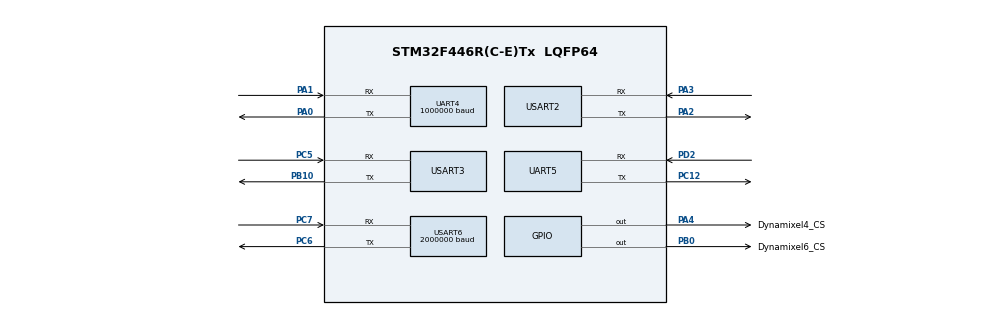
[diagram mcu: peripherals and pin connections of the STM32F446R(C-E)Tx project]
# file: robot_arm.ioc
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Dma.Request0=USART6_TX
Dma.Request1=UART4_RX
Dma.Request2=UART4_TX
Dma.Request3=USART6_RX
Dma.Request4=USART2_RX
Dma.Request5=USART2_TX
Dma.UART4_RX.1.Direction=DMA_PERIPH_TO_MEMORY
Dma.UART4_RX.1.FIFOMode=DMA_FIFOMODE_DISABLE
Dma.UART4_RX.1.Instance=DMA1_Stream2
Dma.UART4_RX.1.MemDataAlignment=DMA_MDATAALIGN_BYTE
Dma.UART4_RX.1.MemInc=DMA_MINC_ENABLE
Dma.UART4_RX.1.Mode=DMA_NORMAL
Dma.UART4_RX.1.PeriphDataAlignment=DMA_PDATAALIGN_BYTE
Dma.UART4_RX.1.PeriphInc=DMA_PINC_DISABLE
Dma.UART4_RX.1.Priority=DMA_PRIORITY_LOW
Dma.UART4_TX.2.Direction=DMA_MEMORY_TO_PERIPH
Dma.UART4_TX.2.FIFOMode=DMA_FIFOMODE_DISABLE
Dma.UART4_TX.2.Instance=DMA1_Stream4
Dma.UART4_TX.2.MemDataAlignment=DMA_MDATAALIGN_BYTE
Dma.UART4_TX.2.MemInc=DMA_MINC_ENABLE
Dma.UART4_TX.2.Mode=DMA_NORMAL
Dma.UART4_TX.2.PeriphDataAlignment=DMA_PDATAALIGN_BYTE
Dma.UART4_TX.2.PeriphInc=DMA_PINC_DISABLE
Dma.UART4_TX.2.Priority=DMA_PRIORITY_LOW
Dma.USART2_RX.4.Direction=DMA_PERIPH_TO_MEMORY
Dma.USART2_RX.4.FIFOMode=DMA_FIFOMODE_DISABLE
Dma.USART2_RX.4.Instance=DMA1_Stream5
Dma.USART2_RX.4.MemDataAlignment=DMA_MDATAALIGN_BYTE
Dma.USART2_RX.4.MemInc=DMA_MINC_ENABLE
Dma.USART2_RX.4.Mode=DMA_NORMAL
Dma.USART2_RX.4.PeriphDataAlignment=DMA_PDATAALIGN_BYTE
Dma.USART2_RX.4.PeriphInc=DMA_PINC_DISABLE
Dma.USART2_RX.4.Priority=DMA_PRIORITY_LOW
Dma.USART2_TX.5.Direction=DMA_MEMORY_TO_PERIPH
Dma.USART2_TX.5.FIFOMode=DMA_FIFOMODE_DISABLE
Dma.USART2_TX.5.Instance=DMA1_Stream6
Dma.USART2_TX.5.MemDataAlignment=DMA_MDATAALIGN_BYTE
Dma.USART2_TX.5.MemInc=DMA_MINC_ENABLE
Dma.USART2_TX.5.Mode=DMA_NORMAL
Dma.USART2_TX.5.PeriphDataAlignment=DMA_PDATAALIGN_BYTE
Dma.USART2_TX.5.PeriphInc=DMA_PINC_DISABLE
Dma.USART2_TX.5.Priority=DMA_PRIORITY_LOW
Dma.USART6_RX.3.Direction=DMA_PERIPH_TO_MEMORY
Dma.USART6_RX.3.FIFOMode=DMA_FIFOMODE_DISABLE
Dma.USART6_RX.3.Instance=DMA2_Stream1
Dma.USART6_RX.3.MemDataAlignment=DMA_MDATAALIGN_BYTE
Dma.USART6_RX.3.MemInc=DMA_MINC_ENABLE
Dma.USART6_RX.3.Mode=DMA_NORMAL
Dma.USART6_RX.3.PeriphDataAlignment=DMA_PDATAALIGN_BYTE
Dma.USART6_RX.3.PeriphInc=DMA_PINC_DISABLE
Dma.USART6_RX.3.Priority=DMA_PRIORITY_LOW
Dma.USART6_TX.0.Direction=DMA_MEMORY_TO_PERIPH
Dma.USART6_TX.0.FIFOMode=DMA_FIFOMODE_DISABLE
Dma.USART6_TX.0.Instance=DMA2_Stream6
Dma.USART6_TX.0.MemDataAlignment=DMA_MDATAALIGN_BYTE
Dma.USART6_TX.0.MemInc=DMA_MINC_ENABLE
Dma.USART6_TX.0.Mode=DMA_NORMAL
Dma.USART6_TX.0.PeriphDataAlignment=DMA_PDATAALIGN_BYTE
Dma.USART6_TX.0.PeriphInc=DMA_PINC_DISABLE
Dma.USART6_TX.0.Priority=DMA_PRIORITY_LOW
Mcu.Family=STM32F4
Mcu.Name=STM32F446R(C-E)Tx
Mcu.Package=LQFP64
NVIC.DMA1_Stream2_IRQn=true\:0\:0\:false\:false\:true\:false\:true\:true
NVIC.DMA1_Stream4_IRQn=true\:0\:0\:false\:false\:true\:false\:true\:true
NVIC.DMA1_Stream5_IRQn=true\:0\:0\:false\:false\:true\:false\:true\:true
NVIC.DMA1_Stream6_IRQn=true\:0\:0\:false\:false\:true\:false\:true\:true
NVIC.DMA2_Stream1_IRQn=true\:0\:0\:false\:false\:true\:false\:true\:true
NVIC.DMA2_Stream6_IRQn=true\:0\:0\:false\:false\:true\:false\:true\:true
NVIC.PriorityGroup=NVIC_PRIORITYGROUP_0
NVIC.TIM1_UP_TIM10_IRQn=true\:0\:0\:false\:false\:true\:true\:true\:true
NVIC.UART4_IRQn=true\:0\:0\:false\:false\:true\:true\:true\:true
NVIC.UART5_IRQn=true\:0\:0\:false\:false\:true\:true\:true\:true
NVIC.USART3_IRQn=true\:0\:0\:false\:false\:true\:true\:true\:true
NVIC.USART6_IRQn=true\:0\:0\:false\:false\:true\:true\:true\:true
PA0-WKUP.Mode=Asynchronous
PA0-WKUP.Signal=UART4_TX
PA1.Mode=Asynchronous
PA1.Signal=UART4_RX
PA2.Mode=Asynchronous
PA2.Signal=USART2_TX
PA3.Mode=Asynchronous
PA3.Signal=USART2_RX
PA4.GPIO_Label=Dynamixel4_CS
PA4.GPIO_PuPd=GPIO_PULLDOWN
PA4.GPIO_Speed=GPIO_SPEED_FREQ_HIGH
PA4.Signal=GPIO_Output
PB0.GPIO_Label=Dynamixel6_CS
PB0.GPIO_PuPd=GPIO_PULLDOWN
PB0.GPIO_Speed=GPIO_SPEED_FREQ_HIGH
PB0.Signal=GPIO_Output
PB10.Mode=Asynchronous
PB10.Signal=USART3_TX
PC12.Mode=Asynchronous
PC12.Signal=UART5_TX
PC14-OSC32_IN.Mode=LSE-External-Oscillator
PC14-OSC32_IN.Signal=RCC_OSC32_IN
PC15-OSC32_OUT.Mode=LSE-External-Oscillator
PC15-OSC32_OUT.Signal=RCC_OSC32_OUT
PC5.Mode=Asynchronous
PC5.Signal=USART3_RX
PC6.Mode=Asynchronous
PC6.Signal=USART6_TX
PC7.Mode=Asynchronous
PC7.Signal=USART6_RX
PD2.Mode=Asynchronous
PD2.Signal=UART5_RX
PH0-OSC_IN.Mode=HSE-External-Clock-Source
PH0-OSC_IN.Signal=RCC_OSC_IN
PH1-OSC_OUT.Mode=HSE-External-Clock-Source
PH1-OSC_OUT.Signal=RCC_OSC_OUT
ProjectManager.HeapSize=0x200
ProjectManager.StackSize=0x400
ProjectManager.TargetToolchain=STM32CubeIDE
RCC.AHBFreq_Value=180000000
RCC.APB1CLKDivider=RCC_HCLK_DIV4
RCC.APB1Freq_Value=45000000
RCC.APB1TimFreq_Value=90000000
RCC.APB2CLKDivider=RCC_HCLK_DIV2
RCC.APB2Freq_Value=90000000
RCC.APB2TimFreq_Value=180000000
RCC.CortexFreq_Value=180000000
RCC.HCLKFreq_Value=180000000
RCC.HSE_VALUE=8000000
RCC.PLLM=4
RCC.PLLN=180
RCC.PLLSourceVirtual=RCC_PLLSOURCE_HSE
RCC.SYSCLKFreq_VALUE=180000000
RCC.SYSCLKSource=RCC_SYSCLKSOURCE_PLLCLK
RCC.USBFreq_Value=180000000
RCC.VCOOutputFreq_Value=360000000
TIM1.Period=60000
TIM1.Prescaler=29
UART4.BaudRate=1000000
UART4.VirtualMode=Asynchronous
UART5.VirtualMode=Asynchronous
USART2.VirtualMode=VM_ASYNC
USART3.VirtualMode=VM_ASYNC
USART6.BaudRate=2000000
USART6.VirtualMode=VM_ASYNC
VP_TIM1_VS_ClockSourceINT.Mode=Internal
board=custom

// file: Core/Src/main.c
/* USER CODE BEGIN Header */
/**
  ******************************************************************************
  * @file           : main.c
  * @brief          : Main program body
  ******************************************************************************
  * @attention
  *
  * Copyright (c) 2025 STMicroelectronics.
  * All rights reserved.
  *
  * This software is licensed under terms that can be found in the LICENSE file
  * in the root directory of this software component.
  * If no LICENSE file comes with this software, it is provided AS-IS.
  *
  ******************************************************************************
  */
/* USER CODE END Header */
#include "main.h"
#include "dma.h"
#include "tim.h"
#include "usart.h"
#include "gpio.h"

/* USER CODE BEGIN Includes */
#include <stdbool.h>
#include <math.h>
#include <stdio.h>
#include "mainpp.h"
#include "Mx106v2.h"
#include "Mx106v2_CRC.h"
#include "stm32f4xx_it.h"
#include "motor_control.h"
#include "ROS2STM.h"
#include "ps4_parser.h"
/* USER CODE END Includes */

/* USER CODE BEGIN PV */
_Bool start_trans_mx = 0;

// Geometric parameters
float a = 110;
float b = 160;
//float c = 200;
//float d = 180;
//float e = 300;
//float f = 180;
//int32_t In[6] = {110, 160, 200, 180, 300, 180};
//int32_t An[2] = {100,200};
//int32_t vel[6] = {100};
int32_t vel = 200;
int32_t cmd[7] = {0,200.74/0.088,206.63/0.088,184.13/0.088,159.43/0.088,178.95/0.088,300};
int32_t cmd2[3] = {0,2272,2273};
/* USER CODE END PV */

void SystemClock_Config(void);

int main(void)
{

  /* USER CODE BEGIN 1 */
	LL_APB1_GRP1_EnableClock(LL_APB1_GRP1_PERIPH_USART3);
	LL_APB2_GRP1_EnableClock(LL_APB2_GRP1_PERIPH_SYSCFG);
	LL_APB1_GRP1_EnableClock(LL_APB1_GRP1_PERIPH_PWR);
	LL_GPIO_ResetOutputPin(GPIOA, LL_GPIO_PIN_4);
  /* USER CODE END 1 */

  /* MCU Configuration--------------------------------------------------------*/

  /* Reset of all peripherals, Initializes the Flash interface and the Systick. */
  LL_APB2_GRP1_EnableClock(LL_APB2_GRP1_PERIPH_SYSCFG);
  LL_APB1_GRP1_EnableClock(LL_APB1_GRP1_PERIPH_PWR);

  /* System interrupt init*/
  NVIC_SetPriorityGrouping(NVIC_PRIORITYGROUP_0);

  /* Configure the system clock */
  SystemClock_Config();

  /* USER CODE BEGIN SysInit */
  LL_Init1msTick(180000000);			//Add here to fix MX generated code
  LL_SYSTICK_SetClkSource(LL_SYSTICK_CLKSOURCE_HCLK);
  LL_SYSTICK_EnableIT();
  /* USER CODE END SysInit */

  /* Initialize all configured peripherals */
  MX_GPIO_Init();
  MX_DMA_Init();
  MX_USART2_UART_Init();
  MX_TIM1_Init();
  MX_UART4_Init();
  MX_USART6_UART_Init();
  MX_UART5_Init();
  MX_USART3_UART_Init();
  /* USER CODE BEGIN 2 */
  LL_TIM_ClearFlag_UPDATE(TIM1);
  LL_TIM_EnableIT_UPDATE(TIM1);
  LL_TIM_EnableCounter(TIM1);
//  LL_GPIO_SetOutputPin(GPIOA, LL_GPIO_PIN_4);
//  LL_mDelay(1); // ★ 加入延遲穩定方向切換（必要！）
//  uart4_dma_tx_start();
//  usart6_dma_tx_start();
//  LL_USART_EnableIT_RXNE(USART3);
//  LL_USART_Enable(USART3);
//  LL_USART_EnableIT_RXNE(UART5);
//  LL_USART_Enable(UART5);
//  NVIC_SetPriority(USART3_IRQn, 0);
//  NVIC_EnableIRQ(USART3_IRQn);
//  NVIC_SetPriority(UART5_IRQn, 0);
//  NVIC_EnableIRQ(UART5_IRQn);
//  printf("start\r\n");
//  LL_mDelay(100);
//  UART4_DMA_Config();
//  USART6_DMA_Config();
//  LL_USART_Enable(UART4);
//  LL_USART_Enable(USART6);
//  uint8_t ID_list[6] = { 1, 2, 3, 4, 5, 6 };
//  SyncWrite_StatusReturnLevel(6, ID_list, 1);
//  LL_mDelay(10);
////  PING(1);
//  for (int i = 0;i <= 10; i++){
//  	  SyncWrite_DisableDynamixels(6, ID_list);
//    }
//
//  for(int id = 1; id <= 6; id++) {
//  	  TorqueEnable(id,0);
//  	  while (dynamixel_Ready != 1);
//        LL_mDelay(1);
//    }
//
//    for(int id = 1; id <= 6; id++) {
//        OperatingMode(id, POSITION);
//        while (dynamixel_Ready != 1);
//        LL_mDelay(1);
//    }
//
//    for(int id = 1; id <= 6; id++) {
//  	  TorqueEnable(id,1);
//  	  while (dynamixel_Ready != 1);
//        LL_mDelay(1);
//    }
//  SyncWrite_EnableDynamixels(6, ID_list);
//  LL_mDelay(1);

//	while(1){
//		loop_check_uart5(uart5_rx_buffer, &uart5_packet_ready);
//		if (data_ready)
//		{
//			data_ready = 0;
//			printf("interrupt\r\n");
//			parse_and_control((char *)rx_buffer);  // 呼叫解析與控制函數
//		}
//		Velocity(1, 5);
//		SyncLED_Enable(2, ID_list);
//		LL_mDelay(100);
//		SyncLED_Disable(2, ID_list);
//		LL_mDelay(100);
//		SyncWrite_VelocityProfile(2, ID_list, 100);
//		SyncWrite_Position(2, ID_list, cmd);
//		LL_mDelay(1000);
//		SyncWrite_VelocityProfile(2, ID_list, 100);
//		SyncWrite_Position(2, ID_list, cmd2);
//		LL_mDelay(1000);
//		SyncWrite_PositionWithVelocityProfile(6, ID_list, cmd, vel);
//		LL_mDelay(1000);
//		SyncWrite_PositionWithVelocityProfile(2, ID_list, cmd2, vel);
//		LL_mDelay(1000);
//	}
  StatusReturnLevel(1, 1);  // 只設 ID 1 → 這樣你可以加 while 等回應
  while (dynamixel_Ready != 1);
  /* USER CODE END 2 */

  /* Infinite loop */
  while (1)
  {

    /* USER CODE BEGIN 3 */
	int32_t pos = ReadPosition(1);
	float deg = pos * 0.087891f;
	int deg_x100 = (int)(deg * 100);  // 乘 100 轉成整數
	printf("Angle ≈ %d.%02d°\r\n", deg_x100 / 100, deg_x100 % 100);
  }
  /* USER CODE END 3 */
}

void SystemClock_Config(void)
{
  LL_FLASH_SetLatency(LL_FLASH_LATENCY_5);
  while(LL_FLASH_GetLatency()!= LL_FLASH_LATENCY_5)
  {
  }
  LL_PWR_SetRegulVoltageScaling(LL_PWR_REGU_VOLTAGE_SCALE1);
  LL_PWR_EnableOverDriveMode();
  LL_RCC_HSE_EnableBypass();
  LL_RCC_HSE_Enable();

   /* Wait till HSE is ready */
  while(LL_RCC_HSE_IsReady() != 1)
  {

  }
  LL_RCC_PLL_ConfigDomain_SYS(LL_RCC_PLLSOURCE_HSE, LL_RCC_PLLM_DIV_4, 180, LL_RCC_PLLP_DIV_2);
  LL_RCC_PLL_Enable();

   /* Wait till PLL is ready */
  while(LL_RCC_PLL_IsReady() != 1)
  {

  }
  while (LL_PWR_IsActiveFlag_VOS() == 0)
  {
  }
  LL_RCC_SetAHBPrescaler(LL_RCC_SYSCLK_DIV_1);
  LL_RCC_SetAPB1Prescaler(LL_RCC_APB1_DIV_4);
  LL_RCC_SetAPB2Prescaler(LL_RCC_APB2_DIV_2);
  LL_RCC_SetSysClkSource(LL_RCC_SYS_CLKSOURCE_PLL);

   /* Wait till System clock is ready */
  while(LL_RCC_GetSysClkSource() != LL_RCC_SYS_CLKSOURCE_STATUS_PLL)
  {

  }
  LL_Init1msTick(180000000);
  LL_SetSystemCoreClock(180000000);
  LL_RCC_SetTIMPrescaler(LL_RCC_TIM_PRESCALER_TWICE);
}

/* USER CODE BEGIN 4 */
int _write(int file, char *ptr, int len) {
	int DataIdx;
	for(DataIdx = 0; DataIdx < len; DataIdx++) {
		LL_USART_TransmitData8(USART2, (uint8_t)*ptr++);
		while(LL_USART_IsActiveFlag_TXE(USART2) == RESET)
			;
	}
	return len;
}
/* USER CODE END 4 */

void Error_Handler(void)
{
  __disable_irq();
  while (1)
  {
  }
}
